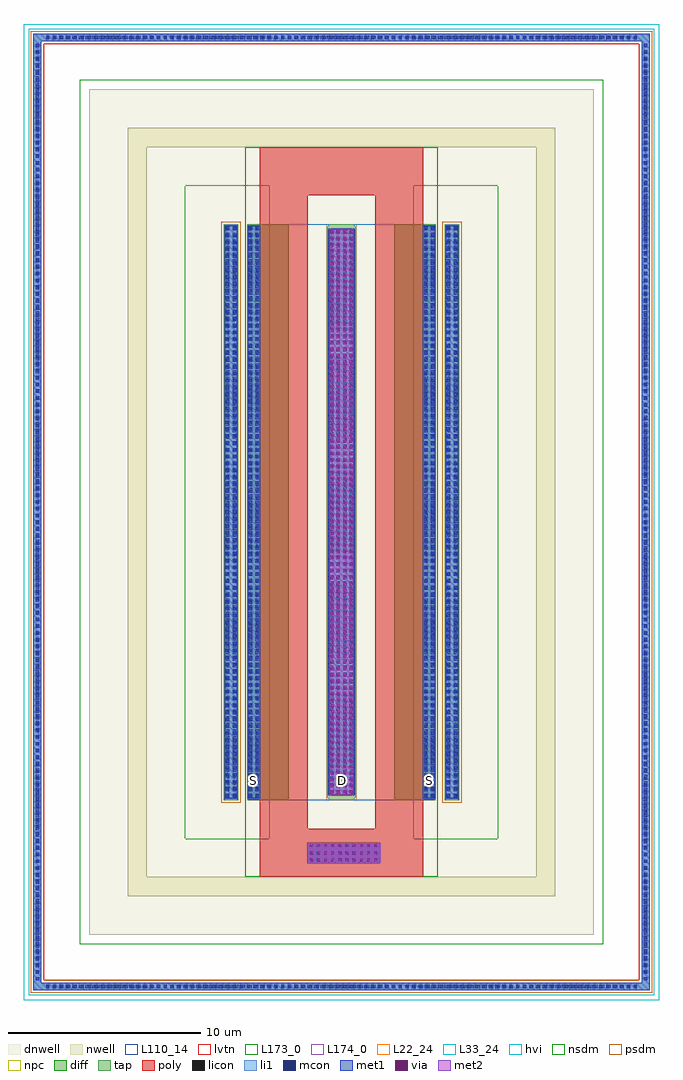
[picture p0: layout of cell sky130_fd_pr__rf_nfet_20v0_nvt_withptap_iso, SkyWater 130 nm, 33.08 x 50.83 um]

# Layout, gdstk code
import gdstk
lib = gdstk.Library(unit=1e-6, precision=1e-09)
def R(c, l, rs):  # rectangles x0, y0, x1, y1
    for r in rs: c.add(gdstk.rectangle(r[:2], r[2:], *l))
def A(c, l, x, y, w, h, nx, ny, dx, dy):  # array of equal rectangles
    R(c, l, [(x+i*dx, y+j*dy, x+i*dx+w, y+j*dy+h) for i in range(nx) for j in range(ny)])
def P(c, l, *ps):  # polygons
    for p in ps: c.add(gdstk.Polygon(p, *l))
L22_24 = (22, 24)
L33_24 = (33, 24)
dnwell = (64, 18)
nwell = (64, 20)
diff = (65, 20)
tap = (65, 44)
poly = (66, 20)
licon = (66, 44)
li1 = (67, 20)
mcon = (67, 44)
met1 = (68, 20)
via = (68, 44)
met2 = (69, 20)
hvi = (75, 20)
nsdm = (93, 44)
psdm = (94, 20)
npc = (95, 20)
L110_14 = (110, 14)
lvtn = (125, 44)
L173_0 = (173, 0)
L174_0 = (174, 0)

sky130_fd_pr__rf_nfet_20 = lib.new_cell('sky130_fd_pr__rf_nfet_20v0_nvt_withptap_iso')
R(sky130_fd_pr__rf_nfet_20, L22_24, [(-15.79,-10.41,17.29,40.415)])
R(sky130_fd_pr__rf_nfet_20, L33_24, [(-15.79,-10.41,17.29,40.415)])
R(sky130_fd_pr__rf_nfet_20, dnwell, [(-12.38,-7,13.88,37.005)])
R(sky130_fd_pr__rf_nfet_20, nwell, [(-0.05,0,1.55,30)])
P(sky130_fd_pr__rf_nfet_20, nwell, [(11.88,35.005),(10.88,35.005),(10.88,-3.995),(-9.38,-3.995),(-9.38,34.005),(10.88,34.005),(10.88,35.005),(-10.38,35.005),(-10.38,-4.995),(11.88,-4.995)])
R(sky130_fd_pr__rf_nfet_20, diff, [(-4.13,0,-3.5,30), (-4.13,0,-2,30), (3.5,0,5.63,30), (5,0,5.63,30), (-4.13,0.065,-3.5,29.935), (5,0.065,5.63,29.935)])
R(sky130_fd_pr__rf_nfet_20, tap, [(-15.29,-9.91,-14.88,39.915), (-14.755,-9.91,16.255,-9.5), (-15.29,-9.17,-14.88,39.18), (16.38,-9.17,16.79,39.18), (-5.38,0,-4.63,30), (6.13,0,6.88,30), (6.13,0,6.88,30), (-5.38,0.005,-4.63,29.995), (6.13,0.005,6.88,29.995), (0.035,0.175,1.465,29.825), (-14.755,39.505,16.255,39.915)])
P(sky130_fd_pr__rf_nfet_20, tap, [(0.15,0),(1.35,0),(1.5,0.15),(1.5,29.85),(1.35,30),(0.15,30),(0,29.85),(0,0.15)],
  [(16.79,39.915),(16.38,39.915),(16.38,-9.5),(-14.88,-9.5),(-14.88,39.505),(16.38,39.505),(16.38,39.915),(-15.29,39.915),(-15.29,-9.91),(16.79,-9.91)])
R(sky130_fd_pr__rf_nfet_20, poly, [(-0.98,-3.285,-0.65,-2.955), (-0.98,-3.285,-0.65,-2.955), (-0.61,-3.285,-0.28,-2.955), (-0.61,-3.285,-0.28,-2.955), (-0.24,-3.285,0.09,-2.955), (-0.24,-3.285,0.09,-2.955), (0.13,-3.285,0.46,-2.955), (0.13,-3.285,0.46,-2.955), (0.5,-3.285,0.83,-2.955), (0.5,-3.285,0.83,-2.955), (0.87,-3.285,1.2,-2.955), (0.87,-3.285,1.2,-2.955), (1.24,-3.285,1.57,-2.955), (1.24,-3.285,1.57,-2.955), (1.61,-3.285,1.94,-2.955), (1.61,-3.285,1.94,-2.955), (1.98,-3.285,2.31,-2.955), (1.98,-3.285,2.31,-2.955), (2.35,-3.285,2.68,-2.955), (2.35,-3.285,2.68,-2.955), (-0.98,-2.915,-0.65,-2.585), (-0.98,-2.915,-0.65,-2.585), (-0.61,-2.915,-0.28,-2.585), (-0.61,-2.915,-0.28,-2.585), (-0.24,-2.915,0.09,-2.585), (-0.24,-2.915,0.09,-2.585), (0.13,-2.915,0.46,-2.585), (0.13,-2.915,0.46,-2.585), (0.5,-2.915,0.83,-2.585), (0.5,-2.915,0.83,-2.585), (0.87,-2.915,1.2,-2.585), (0.87,-2.915,1.2,-2.585), (1.24,-2.915,1.57,-2.585), (1.24,-2.915,1.57,-2.585), (1.61,-2.915,1.94,-2.585), (1.61,-2.915,1.94,-2.585), (1.98,-2.915,2.31,-2.585), (1.98,-2.915,2.31,-2.585), (2.35,-2.915,2.68,-2.585), (2.35,-2.915,2.68,-2.585), (-0.98,-2.545,-0.65,-2.215), (-0.98,-2.545,-0.65,-2.215), (-0.61,-2.545,-0.28,-2.215), (-0.61,-2.545,-0.28,-2.215), (-0.24,-2.545,0.09,-2.215), (-0.24,-2.545,0.09,-2.215), (0.13,-2.545,0.46,-2.215), (0.13,-2.545,0.46,-2.215), (0.5,-2.545,0.83,-2.215), (0.5,-2.545,0.83,-2.215), (0.87,-2.545,1.2,-2.215), (0.87,-2.545,1.2,-2.215), (1.24,-2.545,1.57,-2.215), (1.24,-2.545,1.57,-2.215), (1.61,-2.545,1.94,-2.215), (1.61,-2.545,1.94,-2.215), (1.98,-2.545,2.31,-2.215), (1.98,-2.545,2.31,-2.215), (2.35,-2.545,2.68,-2.215), (2.35,-2.545,2.68,-2.215)])
P(sky130_fd_pr__rf_nfet_20, poly, [(5,34),(2.5,34),(2.5,-1.5),(-1,-1.5),(-1,31.5),(2.5,31.5),(2.5,34),(-3.5,34),(-3.5,-4),(5,-4)])
A(sky130_fd_pr__rf_nfet_20, licon, -14.635, -9.79, 0.17, 0.17, 91, 2, 0.34, 49.415)
A(sky130_fd_pr__rf_nfet_20, licon, -15.17, -9.05, 0.17, 0.17, 1, 142, 0, 0.34)
A(sky130_fd_pr__rf_nfet_20, licon, 16.5, -9.05, 0.17, 0.17, 1, 142, 0, 0.34)
A(sky130_fd_pr__rf_nfet_20, licon, -0.9, -3.205, 0.17, 0.17, 10, 3, 0.37, 0.37)
A(sky130_fd_pr__rf_nfet_20, licon, -5.26, 0.125, 0.17, 0.17, 1, 88, 0, 0.34)
A(sky130_fd_pr__rf_nfet_20, licon, -4.92, 0.125, 0.17, 0.17, 1, 88, 0, 0.34)
A(sky130_fd_pr__rf_nfet_20, licon, -4.07, 0.125, 0.17, 0.17, 1, 88, 0, 0.34)
A(sky130_fd_pr__rf_nfet_20, licon, -3.73, 0.125, 0.17, 0.17, 1, 88, 0, 0.34)
A(sky130_fd_pr__rf_nfet_20, licon, 5.06, 0.125, 0.17, 0.17, 1, 88, 0, 0.34)
A(sky130_fd_pr__rf_nfet_20, licon, 5.4, 0.125, 0.17, 0.17, 1, 88, 0, 0.34)
A(sky130_fd_pr__rf_nfet_20, licon, 6.25, 0.125, 0.17, 0.17, 1, 88, 0, 0.34)
A(sky130_fd_pr__rf_nfet_20, licon, 6.59, 0.125, 0.17, 0.17, 1, 88, 0, 0.34)
A(sky130_fd_pr__rf_nfet_20, licon, 0.155, 0.295, 0.17, 0.17, 4, 87, 0.34, 0.34)
A(sky130_fd_pr__rf_nfet_20, li1, -0.98, -3.285, 0.33, 0.33, 10, 3, 0.37, 0.37)
A(sky130_fd_pr__rf_nfet_20, li1, -0.9, -3.205, 0.17, 0.17, 10, 3, 0.37, 0.37)
R(sky130_fd_pr__rf_nfet_20, li1, [(-14.715,-9.87,16.215,-9.54), (-14.635,-9.79,16.135,-9.62), (-15.17,-9.385,-15,39.385), (16.5,-9.385,16.67,39.385), (-15.25,-9.13,-14.92,39.14), (16.42,-9.13,16.75,39.14), (-1.045,-3.285,2.775,-2.215), (-5.34,0.045,-4.67,29.955), (-4.15,0.045,-3.48,29.955), (4.98,0.045,5.65,29.955), (6.17,0.045,6.84,29.955), (-5.27,0.155,-4.74,29.845), (-4.08,0.155,-3.55,29.845), (5.05,0.155,5.58,29.845), (6.24,0.155,6.77,29.845), (0.075,0.215,1.425,29.785), (0.125,0.335,1.375,29.665), (-14.715,39.545,16.215,39.875), (-14.635,39.625,16.135,39.795)])
P(sky130_fd_pr__rf_nfet_20, li1, [(16.79,39.915),(16.38,39.915),(16.38,-9.5),(-14.88,-9.5),(-14.88,39.505),(16.38,39.505),(16.38,39.915),(-15.29,39.915),(-15.29,-9.91),(16.79,-9.91)])
A(sky130_fd_pr__rf_nfet_20, mcon, -14.635, -9.79, 0.17, 0.17, 86, 2, 0.36, 49.415)
A(sky130_fd_pr__rf_nfet_20, mcon, -15.17, -9.385, 0.17, 0.17, 1, 136, 0, 0.36)
A(sky130_fd_pr__rf_nfet_20, mcon, 16.5, -9.385, 0.17, 0.17, 1, 136, 0, 0.36)
A(sky130_fd_pr__rf_nfet_20, mcon, -0.9, -3.205, 0.17, 0.17, 10, 3, 0.37, 0.37)
A(sky130_fd_pr__rf_nfet_20, mcon, -5.27, 0.155, 0.17, 0.17, 1, 83, 0, 0.36)
A(sky130_fd_pr__rf_nfet_20, mcon, -4.91, 0.155, 0.17, 0.17, 1, 83, 0, 0.36)
A(sky130_fd_pr__rf_nfet_20, mcon, -4.08, 0.155, 0.17, 0.17, 1, 83, 0, 0.36)
A(sky130_fd_pr__rf_nfet_20, mcon, -3.72, 0.155, 0.17, 0.17, 1, 83, 0, 0.36)
A(sky130_fd_pr__rf_nfet_20, mcon, 5.05, 0.155, 0.17, 0.17, 1, 83, 0, 0.36)
A(sky130_fd_pr__rf_nfet_20, mcon, 5.41, 0.155, 0.17, 0.17, 1, 83, 0, 0.36)
A(sky130_fd_pr__rf_nfet_20, mcon, 6.24, 0.155, 0.17, 0.17, 1, 83, 0, 0.36)
A(sky130_fd_pr__rf_nfet_20, mcon, 6.6, 0.155, 0.17, 0.17, 1, 83, 0, 0.36)
A(sky130_fd_pr__rf_nfet_20, mcon, 0.125, 0.335, 0.17, 0.17, 4, 82, 0.36, 0.36)
A(sky130_fd_pr__rf_nfet_20, met1, -0.975, -3.28, 0.32, 0.32, 10, 3, 0.37, 0.37)
A(sky130_fd_pr__rf_nfet_20, met1, -0.96, -3.265, 0.29, 0.29, 10, 3, 0.37, 0.37)
R(sky130_fd_pr__rf_nfet_20, met1, [(-14.695,-9.85,16.195,-9.56), (-15.23,-9.445,-14.94,39.445), (16.44,-9.445,16.73,39.445), (-1.045,-3.285,2.775,-2.215), (-5.33,0.095,-4.68,29.905), (-4.14,0.095,-3.49,29.905), (4.99,0.095,5.64,29.905), (6.18,0.095,6.83,29.905), (0.065,0.275,1.435,29.725), (0.11,0.285,1.39,29.725), (-14.695,39.565,16.195,39.855)])
P(sky130_fd_pr__rf_nfet_20, met1, [(16.79,39.915),(16.38,39.915),(16.38,-9.5),(-14.88,-9.5),(-14.88,39.505),(16.38,39.505),(16.38,39.915),(-15.29,39.915),(-15.29,-9.91),(16.79,-9.91)])
A(sky130_fd_pr__rf_nfet_20, via, -0.89, -3.195, 0.15, 0.15, 10, 3, 0.37, 0.37)
A(sky130_fd_pr__rf_nfet_20, via, 0.195, 0.37, 0.15, 0.15, 4, 92, 0.32, 0.32)
R(sky130_fd_pr__rf_nfet_20, met2, [(-1.045,-3.285,2.775,-2.215), (-0.975,-3.28,-0.655,-2.96), (-0.975,-3.28,-0.655,-2.96), (-0.605,-3.28,-0.285,-2.96), (-0.605,-3.28,-0.285,-2.96), (-0.235,-3.28,0.085,-2.96), (-0.235,-3.28,0.085,-2.96), (0.135,-3.28,0.455,-2.96), (0.135,-3.28,0.455,-2.96), (0.505,-3.28,0.825,-2.96), (0.505,-3.28,0.825,-2.96), (0.875,-3.28,1.195,-2.96), (0.875,-3.28,1.195,-2.96), (1.245,-3.28,1.565,-2.96), (1.245,-3.28,1.565,-2.96), (1.615,-3.28,1.935,-2.96), (1.615,-3.28,1.935,-2.96), (1.985,-3.28,2.305,-2.96), (1.985,-3.28,2.305,-2.96), (2.355,-3.28,2.675,-2.96), (2.355,-3.28,2.675,-2.96), (-0.975,-2.91,-0.655,-2.59), (-0.975,-2.91,-0.655,-2.59), (-0.605,-2.91,-0.285,-2.59), (-0.605,-2.91,-0.285,-2.59), (-0.235,-2.91,0.085,-2.59), (-0.235,-2.91,0.085,-2.59), (0.135,-2.91,0.455,-2.59), (0.135,-2.91,0.455,-2.59), (0.505,-2.91,0.825,-2.59), (0.505,-2.91,0.825,-2.59), (0.875,-2.91,1.195,-2.59), (0.875,-2.91,1.195,-2.59), (1.245,-2.91,1.565,-2.59), (1.245,-2.91,1.565,-2.59), (1.615,-2.91,1.935,-2.59), (1.615,-2.91,1.935,-2.59), (1.985,-2.91,2.305,-2.59), (1.985,-2.91,2.305,-2.59), (2.355,-2.91,2.675,-2.59), (2.355,-2.91,2.675,-2.59), (-0.975,-2.54,-0.655,-2.22), (-0.975,-2.54,-0.655,-2.22), (-0.605,-2.54,-0.285,-2.22), (-0.605,-2.54,-0.285,-2.22), (-0.235,-2.54,0.085,-2.22), (-0.235,-2.54,0.085,-2.22), (0.135,-2.54,0.455,-2.22), (0.135,-2.54,0.455,-2.22), (0.505,-2.54,0.825,-2.22), (0.505,-2.54,0.825,-2.22), (0.875,-2.54,1.195,-2.22), (0.875,-2.54,1.195,-2.22), (1.245,-2.54,1.565,-2.22), (1.245,-2.54,1.565,-2.22), (1.615,-2.54,1.935,-2.22), (1.615,-2.54,1.935,-2.22), (1.985,-2.54,2.305,-2.22), (1.985,-2.54,2.305,-2.22), (2.355,-2.54,2.675,-2.22), (2.355,-2.54,2.675,-2.22), (0.11,0.285,1.39,29.725)])
R(sky130_fd_pr__rf_nfet_20, hvi, [(-15.54,-10.16,17.04,40.165)])
R(sky130_fd_pr__rf_nfet_20, nsdm, [(-4.26,-4,5.76,34)])
R(sky130_fd_pr__rf_nfet_20, psdm, [(-15.42,-10.04,16.92,-9.37), (-15.42,-10.04,-14.75,40.045), (16.25,-10.04,16.92,40.045), (-15.42,-9.3,-14.75,39.31), (16.25,-9.3,16.92,39.31), (-5.51,-0.13,-4.5,30.13), (6,-0.13,7.01,30.13), (-15.42,39.375,16.92,40.045)])
A(sky130_fd_pr__rf_nfet_20, npc, -1, -3.305, 0.37, 0.37, 10, 3, 0.37, 0.37)
R(sky130_fd_pr__rf_nfet_20, L110_14, [(-4.13,0,5.63,30)])
R(sky130_fd_pr__rf_nfet_20, lvtn, [(-14.75,-9.37,16.25,39.375), (-3,-3.5,4.5,33.5)])
P(sky130_fd_pr__rf_nfet_20, L173_0, [(-12.88,-7.5),(-12.88,32),(-7.38,32),(-7.38,-2),(-3,-2),(-3,32),(-12.88,32),(-12.88,37.505),(14.38,37.505),(14.38,-2),(8.88,-2),(8.88,32),(4.5,32),(4.5,-2),(14.38,-2),(14.38,-7.5)])
R(sky130_fd_pr__rf_nfet_20, L174_0, [(-15.79,-10.41,17.29,40.415)])
sky130_fd_pr__rf_nfet_20.add(gdstk.Label('S', (-3.815,1.03), layer=83, texttype=44))
sky130_fd_pr__rf_nfet_20.add(gdstk.Label('S', (5.31,1.03), layer=83, texttype=44))
sky130_fd_pr__rf_nfet_20.add(gdstk.Label('D', (0.79,1.03), layer=83, texttype=44))

lib.write_gds('sky130_fd_pr__rf_nfet_20v0_nvt_withptap_iso.gds')
